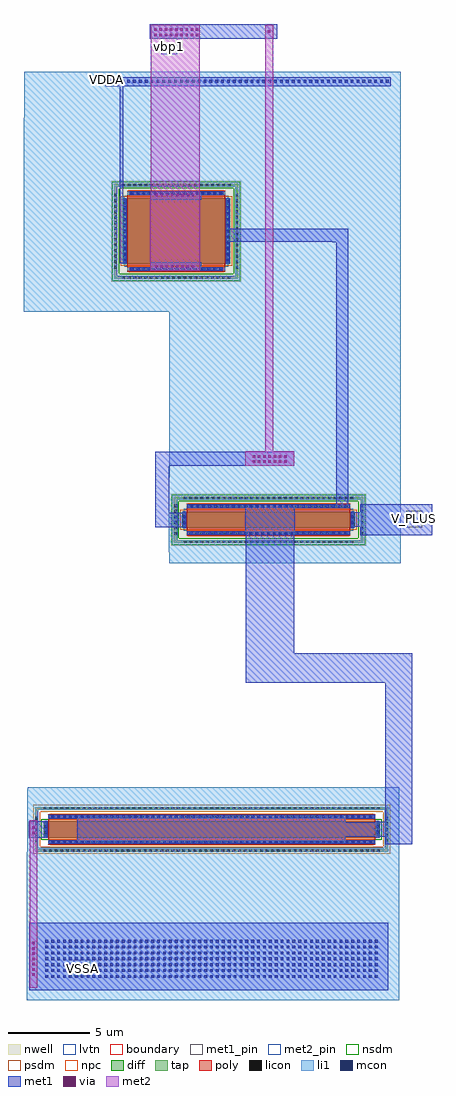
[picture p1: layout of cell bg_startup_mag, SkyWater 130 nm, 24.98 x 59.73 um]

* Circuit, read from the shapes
.subckt bg_startup_mag VDDA VSSA V_PLUS vbp1
XM1 sky130_fd_pr__nfet_01v8_DDLPEF_1/G sky130_fd_pr__nfet_01v8_DDLPEF_1/G VSSA VSSA sky130_fd_pr__nfet_01v8 w=1 l=20
XM2 sky130_fd_pr__nfet_01v8_DDLPEF_1/G vbp1 VDDA VDDA sky130_fd_pr__pfet_01v8_lvt w=4 l=6
XM3 V_PLUS sky130_fd_pr__nfet_01v8_DDLPEF_1/G vbp1 VDDA sky130_fd_pr__pfet_01v8_lvt w=1 l=10
.ends

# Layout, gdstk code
import gdstk
lib = gdstk.Library(unit=1e-6, precision=1e-09)
def R(c, l, rs):  # rectangles x0, y0, x1, y1
    for r in rs: c.add(gdstk.rectangle(r[:2], r[2:], *l))
def A(c, l, x, y, w, h, nx, ny, dx, dy):  # array of equal rectangles
    R(c, l, [(x+i*dx, y+j*dy, x+i*dx+w, y+j*dy+h) for i in range(nx) for j in range(ny)])
nwell = (64, 20)
diff = (65, 20)
tap = (65, 44)
poly = (66, 20)
licon = (66, 44)
li1 = (67, 20)
mcon = (67, 44)
met1_pin = (68, 16)
met1 = (68, 20)
via = (68, 44)
met2_pin = (69, 16)
met2 = (69, 20)
nsdm = (93, 44)
psdm = (94, 20)
npc = (95, 20)
lvtn = (125, 44)
boundary = (235, 4)

sky130_fd_pr__pfet_01v8_ = lib.new_cell('sky130_fd_pr__pfet_01v8_lvt_N6A984')
R(sky130_fd_pr__pfet_01v8_, nwell, [(-5.98,-1.595,5.98,1.595)])
R(sky130_fd_pr__pfet_01v8_, diff, [(-5.29,-0.5,5.29,0.5)])
R(sky130_fd_pr__pfet_01v8_, tap, [(-5.8,-1.415,5.8,-1.245), (-5.8,-1.245,-5.63,1.245), (5.63,-1.245,5.8,1.245), (-5.8,1.245,5.8,1.415)])
R(sky130_fd_pr__pfet_01v8_, poly, [(-5,-0.985,5,0.985)])
A(sky130_fd_pr__pfet_01v8_, licon, -5.185, -1.415, 0.17, 0.17, 31, 2, 0.34, 2.66)
A(sky130_fd_pr__pfet_01v8_, licon, -5.8, -0.935, 0.17, 0.17, 1, 6, 0, 0.34)
A(sky130_fd_pr__pfet_01v8_, licon, 5.63, -0.935, 0.17, 0.17, 1, 6, 0, 0.34)
A(sky130_fd_pr__pfet_01v8_, licon, -4.845, -0.905, 0.17, 0.17, 29, 2, 0.34, 1.64)
A(sky130_fd_pr__pfet_01v8_, licon, -5.23, -0.425, 0.17, 0.17, 1, 3, 0, 0.34)
A(sky130_fd_pr__pfet_01v8_, licon, 5.06, -0.425, 0.17, 0.17, 1, 3, 0, 0.34)
R(sky130_fd_pr__pfet_01v8_, li1, [(-5.8,-1.415,5.8,-1.245), (-5.8,-1.245,-5.63,1.245), (5.63,-1.245,5.8,1.245), (-5,-0.905,5,-0.735), (-5.23,-0.52,-5.06,0.52), (5.06,-0.52,5.23,0.52), (-5,0.735,5,0.905), (-5.8,1.245,5.8,1.415)])
A(sky130_fd_pr__pfet_01v8_, mcon, -4.765, -0.905, 0.17, 0.17, 27, 2, 0.36, 1.64)
R(sky130_fd_pr__pfet_01v8_, mcon, [(-5.23,-0.265,-5.06,-0.095), (5.06,-0.265,5.23,-0.095), (-5.23,0.095,-5.06,0.265), (5.06,0.095,5.23,0.265)])
R(sky130_fd_pr__pfet_01v8_, met1, [(-4.98,-0.935,4.98,-0.705), (-5.26,-0.5,-5.03,0.5), (5.03,-0.5,5.26,0.5), (-4.98,0.705,4.98,0.935)])
R(sky130_fd_pr__pfet_01v8_, nsdm, [(-5.925,-1.54,5.925,-1.12), (-5.925,-1.12,-5.505,1.12), (5.505,-1.12,5.925,1.12), (-5.925,1.12,5.925,1.54)])
R(sky130_fd_pr__pfet_01v8_, psdm, [(-5.415,-0.625,5.415,0.625)])
R(sky130_fd_pr__pfet_01v8_, npc, [(-4.945,-1.005,4.945,-0.635), (-4.945,0.635,4.945,1.005)])
R(sky130_fd_pr__pfet_01v8_, lvtn, [(-5.18,-0.68,5.18,0.68)])
R(sky130_fd_pr__pfet_01v8_, boundary, [(-5.715,-1.33,5.715,1.33)])
sky130_fd_pr__pfet_01v8_.add(gdstk.Label('G', (0,0.82), layer=67, texttype=5))
sky130_fd_pr__pfet_01v8_.add(gdstk.Label('S', (5.145,0), layer=67, texttype=5))
sky130_fd_pr__pfet_01v8_.add(gdstk.Label('D', (-5.145,0), layer=67, texttype=5))
sky130_fd_pr__pfet_01v8_.add(gdstk.Label('B', (0,-1.33), layer=67, texttype=5))

sky130_fd_pr__nfet_01v8_ = lib.new_cell('sky130_fd_pr__nfet_01v8_DDLPEF')
R(sky130_fd_pr__nfet_01v8_, diff, [(-10.29,-0.5,10.29,0.5)])
R(sky130_fd_pr__nfet_01v8_, tap, [(-10.8,-1.37,10.8,-1.2), (-10.8,-1.2,-10.63,1.2), (10.63,-1.2,10.8,1.2), (-10.8,1.2,10.8,1.37)])
R(sky130_fd_pr__nfet_01v8_, poly, [(-10,-0.94,10,0.94)])
A(sky130_fd_pr__nfet_01v8_, licon, -10.285, -1.37, 0.17, 0.17, 61, 2, 0.34, 2.57)
A(sky130_fd_pr__nfet_01v8_, licon, -9.775, -0.86, 0.17, 0.17, 58, 2, 0.34, 1.55)
A(sky130_fd_pr__nfet_01v8_, licon, -10.8, -0.765, 0.17, 0.17, 1, 5, 0, 0.34)
A(sky130_fd_pr__nfet_01v8_, licon, 10.63, -0.765, 0.17, 0.17, 1, 5, 0, 0.34)
A(sky130_fd_pr__nfet_01v8_, licon, -10.23, -0.425, 0.17, 0.17, 1, 3, 0, 0.34)
A(sky130_fd_pr__nfet_01v8_, licon, 10.06, -0.425, 0.17, 0.17, 1, 3, 0, 0.34)
R(sky130_fd_pr__nfet_01v8_, li1, [(-10.8,-1.37,10.8,-1.2), (-10.8,-1.2,-10.63,1.2), (10.63,-1.2,10.8,1.2), (-10,-0.86,10,-0.69), (-10.23,-0.52,-10.06,0.52), (10.06,-0.52,10.23,0.52), (-10,0.69,10,0.86), (-10.8,1.2,10.8,1.37)])
A(sky130_fd_pr__nfet_01v8_, mcon, -9.805, -0.86, 0.17, 0.17, 55, 2, 0.36, 1.55)
R(sky130_fd_pr__nfet_01v8_, mcon, [(-10.23,-0.265,-10.06,-0.095), (10.06,-0.265,10.23,-0.095), (-10.23,0.095,-10.06,0.265), (10.06,0.095,10.23,0.265)])
R(sky130_fd_pr__nfet_01v8_, met1, [(-9.98,-0.89,9.98,-0.66), (-10.26,-0.5,-10.03,0.5), (10.03,-0.5,10.26,0.5), (-9.98,0.66,9.98,0.89)])
R(sky130_fd_pr__nfet_01v8_, nsdm, [(-10.415,-0.625,10.415,0.625)])
R(sky130_fd_pr__nfet_01v8_, psdm, [(-10.925,-1.495,10.925,-1.075), (-10.925,-1.075,-10.505,1.075), (10.505,-1.075,10.925,1.075), (-10.925,1.075,10.925,1.495)])
R(sky130_fd_pr__nfet_01v8_, npc, [(-9.875,-0.96,9.875,-0.59), (-9.875,0.59,9.875,0.96)])
R(sky130_fd_pr__nfet_01v8_, boundary, [(-10.715,-1.285,10.715,1.285)])
sky130_fd_pr__nfet_01v8_.add(gdstk.Label('G', (0,0.775), layer=67, texttype=5))
sky130_fd_pr__nfet_01v8_.add(gdstk.Label('S', (10.145,0), layer=67, texttype=5))
sky130_fd_pr__nfet_01v8_.add(gdstk.Label('D', (-10.145,0), layer=67, texttype=5))
sky130_fd_pr__nfet_01v8_.add(gdstk.Label('B', (0,-1.285), layer=67, texttype=5))

c_sky130_fd_pr__pfet_01v8_ = lib.new_cell('sky130_fd_pr__pfet_01v8_lvt_A5FDY7')
R(c_sky130_fd_pr__pfet_01v8_, nwell, [(-3.98,-3.095,3.98,3.095)])
R(c_sky130_fd_pr__pfet_01v8_, diff, [(-3.29,-2,3.29,2)])
R(c_sky130_fd_pr__pfet_01v8_, tap, [(-3.8,-2.915,3.8,-2.745), (-3.8,-2.745,-3.63,2.745), (3.63,-2.745,3.8,2.745), (-3.8,2.745,3.8,2.915)])
R(c_sky130_fd_pr__pfet_01v8_, poly, [(-3,-2.485,3,2.485)])
A(c_sky130_fd_pr__pfet_01v8_, licon, -3.315, -2.915, 0.17, 0.17, 20, 2, 0.34, 5.66)
A(c_sky130_fd_pr__pfet_01v8_, licon, -2.805, -2.405, 0.17, 0.17, 17, 2, 0.34, 4.64)
A(c_sky130_fd_pr__pfet_01v8_, licon, -3.8, -2.295, 0.17, 0.17, 1, 14, 0, 0.34)
A(c_sky130_fd_pr__pfet_01v8_, licon, 3.63, -2.295, 0.17, 0.17, 1, 14, 0, 0.34)
A(c_sky130_fd_pr__pfet_01v8_, licon, -3.23, -1.785, 0.17, 0.17, 1, 11, 0, 0.34)
A(c_sky130_fd_pr__pfet_01v8_, licon, 3.06, -1.785, 0.17, 0.17, 1, 11, 0, 0.34)
R(c_sky130_fd_pr__pfet_01v8_, li1, [(-3.8,-2.915,3.8,-2.745), (-3.8,-2.745,-3.63,2.745), (3.63,-2.745,3.8,2.745), (-3,-2.405,3,-2.235), (-3.23,-2.02,-3.06,2.02), (3.06,-2.02,3.23,2.02), (-3,2.235,3,2.405), (-3.8,2.745,3.8,2.915)])
A(c_sky130_fd_pr__pfet_01v8_, mcon, -2.785, -2.405, 0.17, 0.17, 16, 2, 0.36, 4.64)
A(c_sky130_fd_pr__pfet_01v8_, mcon, -3.23, -1.885, 0.17, 0.17, 1, 11, 0, 0.36)
A(c_sky130_fd_pr__pfet_01v8_, mcon, 3.06, -1.885, 0.17, 0.17, 1, 11, 0, 0.36)
R(c_sky130_fd_pr__pfet_01v8_, met1, [(-2.86,-2.435,2.85,-2.205), (-3.26,-1.97,-3.03,1.97), (3.03,-1.97,3.26,2), (-2.85,2.205,2.86,2.435)])
R(c_sky130_fd_pr__pfet_01v8_, nsdm, [(-3.925,-3.04,3.925,-2.62), (-3.925,-2.62,-3.505,2.62), (3.505,-2.62,3.925,2.62), (-3.925,2.62,3.925,3.04)])
R(c_sky130_fd_pr__pfet_01v8_, psdm, [(-3.415,-2.125,3.415,2.125)])
R(c_sky130_fd_pr__pfet_01v8_, npc, [(-2.905,-2.505,2.905,-2.135), (-2.905,2.135,2.905,2.505)])
R(c_sky130_fd_pr__pfet_01v8_, lvtn, [(-3.18,-2.18,3.18,2.18)])
R(c_sky130_fd_pr__pfet_01v8_, boundary, [(-3.715,-2.83,3.715,2.83)])
c_sky130_fd_pr__pfet_01v8_.add(gdstk.Label('G', (0,2.32), layer=67, texttype=5))
c_sky130_fd_pr__pfet_01v8_.add(gdstk.Label('S', (3.145,0), layer=67, texttype=5))
c_sky130_fd_pr__pfet_01v8_.add(gdstk.Label('D', (-3.145,0), layer=67, texttype=5))
c_sky130_fd_pr__pfet_01v8_.add(gdstk.Label('B', (0,-2.83), layer=67, texttype=5))

bg_startup_mag = lib.new_cell('bg_startup_mag')
R(bg_startup_mag, li1, [(30.49,-5.4,53.28,3.3), (30.49,3.3,53.29,3.65), (30.5,3.65,53.29,3.91), (30.5,3.91,31.19,6.25), (52.39,3.91,53.29,6.25), (30.5,6.25,53.29,7.53), (30.54,7.53,53.29,7.63), (39.2,21.34,53.37,21.99), (39.18,21.99,53.37,22.75), (39.18,22.75,39.71,25.22), (50.92,22.75,53.37,25.22), (39.18,25.22,53.37,26.57), (39.2,26.57,53.37,36.71), (30.31,36.71,53.37,38.92), (30.31,38.92,36.03,44.37), (43.25,38.92,53.37,44.37), (30.31,44.37,53.37,47.65), (30.31,47.65,53.375,48.59), (30.34,48.59,53.375,51.41)])
A(bg_startup_mag, mcon, 31.625, -4.045, 0.17, 0.17, 57, 7, 0.36, 0.36)
A(bg_startup_mag, mcon, 35.545, 50.74, 0.17, 0.17, 48, 1, 0.36, 0)
R(bg_startup_mag, met1_pin, [(33.37,-3.95,34.37,-2.95), (53.7,23.54,54.7,24.54)])
R(bg_startup_mag, met1, [(30.64,-4.79,52.61,-0.66), (52.42,4.14,54.07,4.59), (33.58,4.19,49.99,4.59), (30.62,4.54,31.77,5.54), (33.58,4.59,54.07,5.48), (33.58,5.48,49.99,5.9), (51.86,5.48,54.07,5.5), (52.42,5.5,54.07,5.57), (52.42,5.57,54.08,14.03), (43.89,14.01,46.85,14.03), (43.89,14.03,54.08,15.82), (43.89,15.82,46.85,23.1), (52.42,15.82,54.08,15.83), (50.88,23.04,55.29,23.55), (43.85,23.1,46.88,24.91), (38.34,23.54,40.22,24.42), (50.34,23.55,55.29,24.44), (38.34,24.42,39.21,27.29), (50.88,24.44,55.29,24.93), (47.69,24.72,50.15,24.8), (47.69,24.8,49.09,24.83), (49.43,24.8,50.15,40.98), (38.34,27.29,46.85,28.16), (38.03,39.24,41.16,39.76), (36.16,39.685,36.39,50.535), (36.505,40.98,36.58,41.85), (49.19,40.98,50.15,41), (46.52,41,50.15,41.01), (42.7,41.01,50.15,41.79), (42.7,41.79,42.79,43.61), (38.06,43.57,41.15,44.06), (35.295,50.535,52.76,51.085), (38.01,53.425,45.805,54.335)])
A(bg_startup_mag, via, 30.815, -3.92, 0.15, 0.15, 1, 7, 0, 0.32)
A(bg_startup_mag, via, 44.315, 27.47, 0.15, 0.15, 7, 2, 0.32, 0.32)
A(bg_startup_mag, via, 38.335, 39.42, 0.15, 0.15, 8, 1, 0.32, 0)
A(bg_startup_mag, via, 38.35, 43.8, 0.15, 0.15, 8, 1, 0.32, 0)
A(bg_startup_mag, via, 38.28, 53.6, 0.15, 0.15, 9, 2, 0.32, 0.32)
R(bg_startup_mag, via, [(30.825,4.755,30.975,4.905), (30.825,5.075,30.975,5.225), (45.235,53.795,45.385,53.945)])
R(bg_startup_mag, met2_pin, [(38.7,52.48,39.7,53.48)])
R(bg_startup_mag, met2, [(30.67,-4.64,31.14,5.6), (43.86,27.29,46.87,28.18), (45.095,28.18,45.58,54.28), (38.05,39.24,41.07,43.87), (38.07,43.87,41.07,51.96), (38.06,51.96,41.07,54.28)])
bg_startup_mag.add(gdstk.Reference(sky130_fd_pr__pfet_01v8_, (45.28,23.995)))
bg_startup_mag.add(gdstk.Reference(sky130_fd_pr__nfet_01v8_, (41.8,5.04)))
bg_startup_mag.add(gdstk.Reference(c_sky130_fd_pr__pfet_01v8_, (39.64,41.655)))
bg_startup_mag.add(gdstk.Label('V_PLUS', (54.2,24.04), layer=68, texttype=5))
bg_startup_mag.add(gdstk.Label('VSSA', (33.87,-3.45), layer=68, texttype=5))
bg_startup_mag.add(gdstk.Label('VDDA', (35.36,50.945), layer=68, texttype=5))
bg_startup_mag.add(gdstk.Label('vbp1', (39.2,52.98), layer=69, texttype=5))

lib.write_gds('bg_startup_mag.gds')
